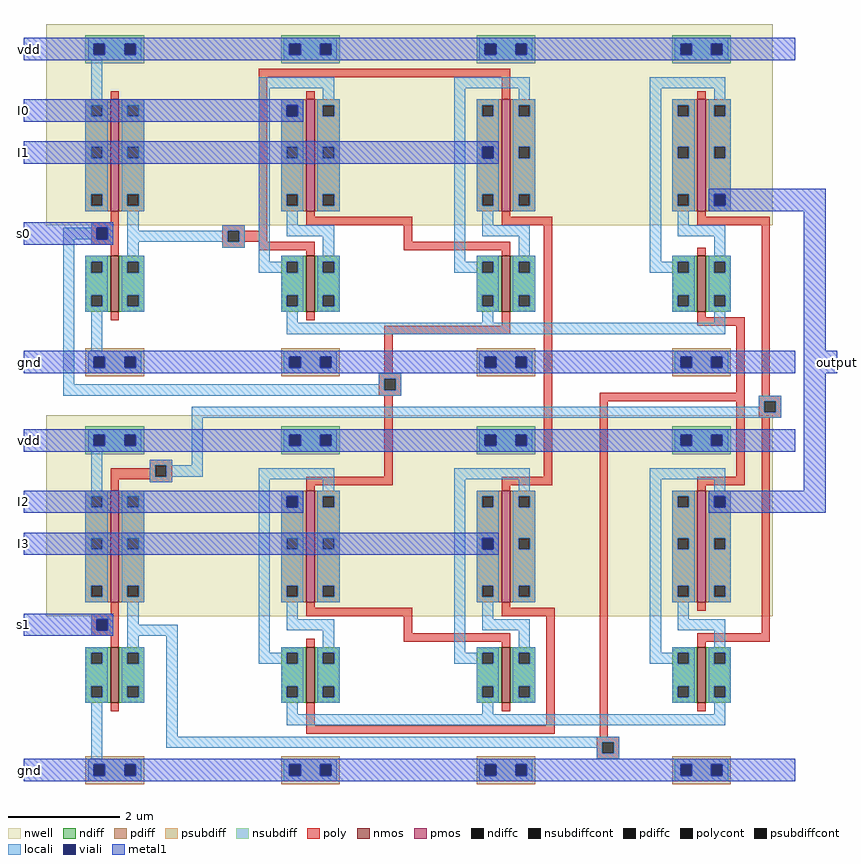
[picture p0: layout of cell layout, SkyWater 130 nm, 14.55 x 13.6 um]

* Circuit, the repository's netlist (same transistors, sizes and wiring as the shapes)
* SPICE3 file created from layout.ext - technology: sky130A

X0 a_540_n410# a_n40_n1810# output gnd sky130_fd_pr__nfet_01v8 ad=0.45 pd=2.9 as=0.45 ps=2.9 w=1 l=0.15
X1 a_n40_n1810# s1 gnd gnd sky130_fd_pr__nfet_01v8 ad=0.45 pd=2.9 as=0.45 ps=2.9 w=1 l=0.15
X2 a_540_n1810# s1 output gnd sky130_fd_pr__nfet_01v8 ad=0.45 pd=2.9 as=0.45 ps=2.9 w=1 l=0.15
X3 a_n40_n410# s0 gnd gnd sky130_fd_pr__nfet_01v8 ad=0.45 pd=2.9 as=0.45 ps=2.9 w=1 l=0.15
X4 I0 a_n40_n410# a_540_n410# gnd sky130_fd_pr__nfet_01v8 ad=0.45 pd=2.9 as=0.45 ps=2.9 w=1 l=0.15
X5 a_n40_n410# s0 vdd vdd sky130_fd_pr__pfet_01v8 ad=0.9 pd=4.9 as=0.9 ps=4.9 w=2 l=0.15
X6 I1 s0 a_540_n410# gnd sky130_fd_pr__nfet_01v8 ad=0.45 pd=2.9 as=0.45 ps=2.9 w=1 l=0.15
X7 output s1 a_540_n410# vdd sky130_fd_pr__pfet_01v8 ad=0.9 pd=4.9 as=0.9 ps=4.9 w=2 l=0.15
X8 a_540_n1810# s0 I2 vdd sky130_fd_pr__pfet_01v8 ad=0.9 pd=4.9 as=0.9 ps=4.9 w=2 l=0.15
X9 a_540_n1810# a_n40_n410# I3 vdd sky130_fd_pr__pfet_01v8 ad=0.9 pd=4.9 as=0.9 ps=4.9 w=2 l=0.15
X10 I2 a_n40_n410# a_540_n1810# gnd sky130_fd_pr__nfet_01v8 ad=0.45 pd=2.9 as=0.45 ps=2.9 w=1 l=0.15
X11 a_540_n410# s0 I0 vdd sky130_fd_pr__pfet_01v8 ad=0.9 pd=4.9 as=0.9 ps=4.9 w=2 l=0.15
X12 a_540_n410# a_n40_n410# I1 vdd sky130_fd_pr__pfet_01v8 ad=0.9 pd=4.9 as=0.9 ps=4.9 w=2 l=0.15
X13 I3 s0 a_540_n1810# gnd sky130_fd_pr__nfet_01v8 ad=0.45 pd=2.9 as=0.45 ps=2.9 w=1 l=0.15
X14 a_n40_n1810# s1 vdd vdd sky130_fd_pr__pfet_01v8 ad=0.9 pd=4.9 as=0.9 ps=4.9 w=2 l=0.15
X15 output a_n40_n1810# a_540_n1810# vdd sky130_fd_pr__pfet_01v8 ad=0.9 pd=4.9 as=0.9 ps=4.9 w=2 l=0.15

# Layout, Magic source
magic
tech sky130A
<< nwell >>
rect -150 -50 1150 310
rect -150 -750 1150 -390
<< nmos >>
rect -35 -205 -20 -105
rect 315 -205 330 -105
rect 665 -205 680 -105
rect 1015 -205 1030 -105
rect -35 -905 -20 -805
rect 315 -905 330 -805
rect 665 -905 680 -805
rect 1015 -905 1030 -805
<< pmos >>
rect -35 -25 -20 175
rect 315 -25 330 175
rect 665 -25 680 175
rect 1015 -25 1030 175
rect -35 -725 -20 -525
rect 315 -725 330 -525
rect 665 -725 680 -525
rect 1015 -725 1030 -525
<< ndiff >>
rect -80 -115 -35 -105
rect -80 -135 -70 -115
rect -50 -135 -35 -115
rect -80 -175 -35 -135
rect -80 -195 -70 -175
rect -50 -195 -35 -175
rect -80 -205 -35 -195
rect -20 -115 25 -105
rect -20 -135 -5 -115
rect 15 -135 25 -115
rect -20 -175 25 -135
rect -20 -195 -5 -175
rect 15 -195 25 -175
rect -20 -205 25 -195
rect 270 -115 315 -105
rect 270 -135 280 -115
rect 300 -135 315 -115
rect 270 -175 315 -135
rect 270 -195 280 -175
rect 300 -195 315 -175
rect 270 -205 315 -195
rect 330 -115 375 -105
rect 330 -135 345 -115
rect 365 -135 375 -115
rect 330 -175 375 -135
rect 330 -195 345 -175
rect 365 -195 375 -175
rect 330 -205 375 -195
rect 620 -115 665 -105
rect 620 -135 630 -115
rect 650 -135 665 -115
rect 620 -175 665 -135
rect 620 -195 630 -175
rect 650 -195 665 -175
rect 620 -205 665 -195
rect 680 -115 725 -105
rect 680 -135 695 -115
rect 715 -135 725 -115
rect 680 -175 725 -135
rect 680 -195 695 -175
rect 715 -195 725 -175
rect 680 -205 725 -195
rect 970 -115 1015 -105
rect 970 -135 980 -115
rect 1000 -135 1015 -115
rect 970 -175 1015 -135
rect 970 -195 980 -175
rect 1000 -195 1015 -175
rect 970 -205 1015 -195
rect 1030 -115 1075 -105
rect 1030 -135 1045 -115
rect 1065 -135 1075 -115
rect 1030 -175 1075 -135
rect 1030 -195 1045 -175
rect 1065 -195 1075 -175
rect 1030 -205 1075 -195
rect -80 -815 -35 -805
rect -80 -835 -70 -815
rect -50 -835 -35 -815
rect -80 -875 -35 -835
rect -80 -895 -70 -875
rect -50 -895 -35 -875
rect -80 -905 -35 -895
rect -20 -815 25 -805
rect -20 -835 -5 -815
rect 15 -835 25 -815
rect -20 -875 25 -835
rect -20 -895 -5 -875
rect 15 -895 25 -875
rect -20 -905 25 -895
rect 270 -815 315 -805
rect 270 -835 280 -815
rect 300 -835 315 -815
rect 270 -875 315 -835
rect 270 -895 280 -875
rect 300 -895 315 -875
rect 270 -905 315 -895
rect 330 -815 375 -805
rect 330 -835 345 -815
rect 365 -835 375 -815
rect 330 -875 375 -835
rect 330 -895 345 -875
rect 365 -895 375 -875
rect 330 -905 375 -895
rect 620 -815 665 -805
rect 620 -835 630 -815
rect 650 -835 665 -815
rect 620 -875 665 -835
rect 620 -895 630 -875
rect 650 -895 665 -875
rect 620 -905 665 -895
rect 680 -815 725 -805
rect 680 -835 695 -815
rect 715 -835 725 -815
rect 680 -875 725 -835
rect 680 -895 695 -875
rect 715 -895 725 -875
rect 680 -905 725 -895
rect 970 -815 1015 -805
rect 970 -835 980 -815
rect 1000 -835 1015 -815
rect 970 -875 1015 -835
rect 970 -895 980 -875
rect 1000 -895 1015 -875
rect 970 -905 1015 -895
rect 1030 -815 1075 -805
rect 1030 -835 1045 -815
rect 1065 -835 1075 -815
rect 1030 -875 1075 -835
rect 1030 -895 1045 -875
rect 1065 -895 1075 -875
rect 1030 -905 1075 -895
<< pdiff >>
rect -80 165 -35 175
rect -80 145 -70 165
rect -50 145 -35 165
rect -80 90 -35 145
rect -80 70 -70 90
rect -50 70 -35 90
rect -80 5 -35 70
rect -80 -15 -70 5
rect -50 -15 -35 5
rect -80 -25 -35 -15
rect -20 165 25 175
rect -20 145 -5 165
rect 15 145 25 165
rect -20 90 25 145
rect -20 70 -5 90
rect 15 70 25 90
rect -20 5 25 70
rect -20 -15 -5 5
rect 15 -15 25 5
rect -20 -25 25 -15
rect 270 165 315 175
rect 270 145 280 165
rect 300 145 315 165
rect 270 90 315 145
rect 270 70 280 90
rect 300 70 315 90
rect 270 5 315 70
rect 270 -15 280 5
rect 300 -15 315 5
rect 270 -25 315 -15
rect 330 165 375 175
rect 330 145 345 165
rect 365 145 375 165
rect 330 90 375 145
rect 330 70 345 90
rect 365 70 375 90
rect 330 5 375 70
rect 330 -15 345 5
rect 365 -15 375 5
rect 330 -25 375 -15
rect 620 165 665 175
rect 620 145 630 165
rect 650 145 665 165
rect 620 90 665 145
rect 620 70 630 90
rect 650 70 665 90
rect 620 5 665 70
rect 620 -15 630 5
rect 650 -15 665 5
rect 620 -25 665 -15
rect 680 165 725 175
rect 680 145 695 165
rect 715 145 725 165
rect 680 90 725 145
rect 680 70 695 90
rect 715 70 725 90
rect 680 5 725 70
rect 680 -15 695 5
rect 715 -15 725 5
rect 680 -25 725 -15
rect 970 165 1015 175
rect 970 145 980 165
rect 1000 145 1015 165
rect 970 90 1015 145
rect 970 70 980 90
rect 1000 70 1015 90
rect 970 5 1015 70
rect 970 -15 980 5
rect 1000 -15 1015 5
rect 970 -25 1015 -15
rect 1030 165 1075 175
rect 1030 145 1045 165
rect 1065 145 1075 165
rect 1030 90 1075 145
rect 1030 70 1045 90
rect 1065 70 1075 90
rect 1030 5 1075 70
rect 1030 -15 1045 5
rect 1065 -15 1075 5
rect 1030 -25 1075 -15
rect -80 -535 -35 -525
rect -80 -555 -70 -535
rect -50 -555 -35 -535
rect -80 -610 -35 -555
rect -80 -630 -70 -610
rect -50 -630 -35 -610
rect -80 -695 -35 -630
rect -80 -715 -70 -695
rect -50 -715 -35 -695
rect -80 -725 -35 -715
rect -20 -535 25 -525
rect -20 -555 -5 -535
rect 15 -555 25 -535
rect -20 -610 25 -555
rect -20 -630 -5 -610
rect 15 -630 25 -610
rect -20 -695 25 -630
rect -20 -715 -5 -695
rect 15 -715 25 -695
rect -20 -725 25 -715
rect 270 -535 315 -525
rect 270 -555 280 -535
rect 300 -555 315 -535
rect 270 -610 315 -555
rect 270 -630 280 -610
rect 300 -630 315 -610
rect 270 -695 315 -630
rect 270 -715 280 -695
rect 300 -715 315 -695
rect 270 -725 315 -715
rect 330 -535 375 -525
rect 330 -555 345 -535
rect 365 -555 375 -535
rect 330 -610 375 -555
rect 330 -630 345 -610
rect 365 -630 375 -610
rect 330 -695 375 -630
rect 330 -715 345 -695
rect 365 -715 375 -695
rect 330 -725 375 -715
rect 620 -535 665 -525
rect 620 -555 630 -535
rect 650 -555 665 -535
rect 620 -610 665 -555
rect 620 -630 630 -610
rect 650 -630 665 -610
rect 620 -695 665 -630
rect 620 -715 630 -695
rect 650 -715 665 -695
rect 620 -725 665 -715
rect 680 -535 725 -525
rect 680 -555 695 -535
rect 715 -555 725 -535
rect 680 -610 725 -555
rect 680 -630 695 -610
rect 715 -630 725 -610
rect 680 -695 725 -630
rect 680 -715 695 -695
rect 715 -715 725 -695
rect 680 -725 725 -715
rect 970 -535 1015 -525
rect 970 -555 980 -535
rect 1000 -555 1015 -535
rect 970 -610 1015 -555
rect 970 -630 980 -610
rect 1000 -630 1015 -610
rect 970 -695 1015 -630
rect 970 -715 980 -695
rect 1000 -715 1015 -695
rect 970 -725 1015 -715
rect 1030 -535 1075 -525
rect 1030 -555 1045 -535
rect 1065 -555 1075 -535
rect 1030 -610 1075 -555
rect 1030 -630 1045 -610
rect 1065 -630 1075 -610
rect 1030 -695 1075 -630
rect 1030 -715 1045 -695
rect 1065 -715 1075 -695
rect 1030 -725 1075 -715
<< ndiffc >>
rect -70 -135 -50 -115
rect -70 -195 -50 -175
rect -5 -135 15 -115
rect -5 -195 15 -175
rect 280 -135 300 -115
rect 280 -195 300 -175
rect 345 -135 365 -115
rect 345 -195 365 -175
rect 630 -135 650 -115
rect 630 -195 650 -175
rect 695 -135 715 -115
rect 695 -195 715 -175
rect 980 -135 1000 -115
rect 980 -195 1000 -175
rect 1045 -135 1065 -115
rect 1045 -195 1065 -175
rect -70 -835 -50 -815
rect -70 -895 -50 -875
rect -5 -835 15 -815
rect -5 -895 15 -875
rect 280 -835 300 -815
rect 280 -895 300 -875
rect 345 -835 365 -815
rect 345 -895 365 -875
rect 630 -835 650 -815
rect 630 -895 650 -875
rect 695 -835 715 -815
rect 695 -895 715 -875
rect 980 -835 1000 -815
rect 980 -895 1000 -875
rect 1045 -835 1065 -815
rect 1045 -895 1065 -875
<< pdiffc >>
rect -70 145 -50 165
rect -70 70 -50 90
rect -70 -15 -50 5
rect -5 145 15 165
rect -5 70 15 90
rect -5 -15 15 5
rect 280 145 300 165
rect 280 70 300 90
rect 280 -15 300 5
rect 345 145 365 165
rect 345 70 365 90
rect 345 -15 365 5
rect 630 145 650 165
rect 630 70 650 90
rect 630 -15 650 5
rect 695 145 715 165
rect 695 70 715 90
rect 695 -15 715 5
rect 980 145 1000 165
rect 980 70 1000 90
rect 980 -15 1000 5
rect 1045 145 1065 165
rect 1045 70 1065 90
rect 1045 -15 1065 5
rect -70 -555 -50 -535
rect -70 -630 -50 -610
rect -70 -715 -50 -695
rect -5 -555 15 -535
rect -5 -630 15 -610
rect -5 -715 15 -695
rect 280 -555 300 -535
rect 280 -630 300 -610
rect 280 -715 300 -695
rect 345 -555 365 -535
rect 345 -630 365 -610
rect 345 -715 365 -695
rect 630 -555 650 -535
rect 630 -630 650 -610
rect 630 -715 650 -695
rect 695 -555 715 -535
rect 695 -630 715 -610
rect 695 -715 715 -695
rect 980 -555 1000 -535
rect 980 -630 1000 -610
rect 980 -715 1000 -695
rect 1045 -555 1065 -535
rect 1045 -630 1065 -610
rect 1045 -715 1065 -695
<< psubdiff >>
rect -80 -285 25 -270
rect -80 -305 -65 -285
rect -45 -305 -10 -285
rect 10 -305 25 -285
rect -80 -320 25 -305
rect 270 -285 375 -270
rect 270 -305 285 -285
rect 305 -305 340 -285
rect 360 -305 375 -285
rect 270 -320 375 -305
rect 620 -285 725 -270
rect 620 -305 635 -285
rect 655 -305 690 -285
rect 710 -305 725 -285
rect 620 -320 725 -305
rect 970 -285 1075 -270
rect 970 -305 985 -285
rect 1005 -305 1040 -285
rect 1060 -305 1075 -285
rect 970 -320 1075 -305
rect -80 -1015 25 -1000
rect -80 -1035 -65 -1015
rect -45 -1035 -10 -1015
rect 10 -1035 25 -1015
rect -80 -1050 25 -1035
rect 270 -1015 375 -1000
rect 270 -1035 285 -1015
rect 305 -1035 340 -1015
rect 360 -1035 375 -1015
rect 270 -1050 375 -1035
rect 620 -1015 725 -1000
rect 620 -1035 635 -1015
rect 655 -1035 690 -1015
rect 710 -1035 725 -1015
rect 620 -1050 725 -1035
rect 970 -1015 1075 -1000
rect 970 -1035 985 -1015
rect 1005 -1035 1040 -1015
rect 1060 -1035 1075 -1015
rect 970 -1050 1075 -1035
<< nsubdiff >>
rect -80 275 25 290
rect -80 255 -65 275
rect -45 255 -10 275
rect 10 255 25 275
rect -80 240 25 255
rect 270 275 375 290
rect 270 255 285 275
rect 305 255 340 275
rect 360 255 375 275
rect 270 240 375 255
rect 620 275 725 290
rect 620 255 635 275
rect 655 255 690 275
rect 710 255 725 275
rect 620 240 725 255
rect 970 275 1075 290
rect 970 255 985 275
rect 1005 255 1040 275
rect 1060 255 1075 275
rect 970 240 1075 255
rect -80 -425 25 -410
rect -80 -445 -65 -425
rect -45 -445 -10 -425
rect 10 -445 25 -425
rect -80 -460 25 -445
rect 270 -425 375 -410
rect 270 -445 285 -425
rect 305 -445 340 -425
rect 360 -445 375 -425
rect 270 -460 375 -445
rect 620 -425 725 -410
rect 620 -445 635 -425
rect 655 -445 690 -425
rect 710 -445 725 -425
rect 620 -460 725 -445
rect 970 -425 1075 -410
rect 970 -445 985 -425
rect 1005 -445 1040 -425
rect 1060 -445 1075 -425
rect 970 -460 1075 -445
<< psubdiffcont >>
rect -65 -305 -45 -285
rect -10 -305 10 -285
rect 285 -305 305 -285
rect 340 -305 360 -285
rect 635 -305 655 -285
rect 690 -305 710 -285
rect 985 -305 1005 -285
rect 1040 -305 1060 -285
rect -65 -1035 -45 -1015
rect -10 -1035 10 -1015
rect 285 -1035 305 -1015
rect 340 -1035 360 -1015
rect 635 -1035 655 -1015
rect 690 -1035 710 -1015
rect 985 -1035 1005 -1015
rect 1040 -1035 1060 -1015
<< nsubdiffcont >>
rect -65 255 -45 275
rect -10 255 10 275
rect 285 255 305 275
rect 340 255 360 275
rect 635 255 655 275
rect 690 255 710 275
rect 985 255 1005 275
rect 1040 255 1060 275
rect -65 -445 -45 -425
rect -10 -445 10 -425
rect 285 -445 305 -425
rect 340 -445 360 -425
rect 635 -445 655 -425
rect 690 -445 710 -425
rect 985 -445 1005 -425
rect 1040 -445 1060 -425
<< poly >>
rect 230 215 680 230
rect -35 175 -20 190
rect -35 -45 -20 -25
rect -70 -55 -20 -45
rect -70 -75 -60 -55
rect -40 -75 -20 -55
rect -70 -85 -20 -75
rect -35 -105 -20 -85
rect 165 -60 205 -50
rect 230 -60 245 215
rect 315 175 330 190
rect 665 175 680 215
rect 1015 175 1030 190
rect 315 -35 330 -25
rect 665 -35 680 -25
rect 1015 -35 1030 -25
rect 315 -50 505 -35
rect 665 -50 755 -35
rect 1015 -50 1145 -35
rect 165 -80 175 -60
rect 195 -80 245 -60
rect 490 -80 505 -50
rect 165 -90 205 -80
rect 230 -95 330 -80
rect 490 -95 680 -80
rect 315 -105 330 -95
rect 665 -105 680 -95
rect -35 -220 -20 -205
rect 315 -220 330 -205
rect 665 -230 680 -205
rect 455 -245 680 -230
rect 455 -315 470 -245
rect 445 -325 485 -315
rect 445 -345 455 -325
rect 475 -345 485 -325
rect 445 -355 485 -345
rect 35 -480 75 -470
rect 35 -485 45 -480
rect -35 -500 45 -485
rect 65 -500 75 -480
rect 455 -500 470 -355
rect 740 -500 755 -50
rect 1015 -105 1030 -90
rect 1015 -215 1030 -205
rect 1015 -230 1100 -215
rect 1085 -350 1100 -230
rect -35 -505 75 -500
rect -35 -525 -20 -505
rect 35 -510 75 -505
rect 315 -515 470 -500
rect 665 -515 755 -500
rect 840 -365 1100 -350
rect 1130 -355 1145 -50
rect 315 -525 330 -515
rect 665 -525 680 -515
rect -35 -745 -20 -725
rect -70 -755 -20 -745
rect 315 -735 330 -725
rect 665 -735 680 -725
rect 315 -750 505 -735
rect 665 -750 760 -735
rect -70 -775 -60 -755
rect -40 -775 -20 -755
rect -70 -785 -20 -775
rect -35 -805 -20 -785
rect 490 -780 505 -750
rect 315 -805 330 -790
rect 490 -795 680 -780
rect 665 -805 680 -795
rect -35 -920 -20 -905
rect 315 -945 330 -905
rect 665 -920 680 -905
rect 745 -945 760 -750
rect 315 -960 760 -945
rect 840 -965 855 -365
rect 1085 -500 1100 -365
rect 1125 -365 1165 -355
rect 1125 -385 1135 -365
rect 1155 -385 1165 -365
rect 1125 -395 1165 -385
rect 1015 -515 1100 -500
rect 1015 -525 1030 -515
rect 1015 -740 1030 -725
rect 1130 -780 1145 -395
rect 1015 -795 1145 -780
rect 1015 -805 1030 -795
rect 1015 -920 1030 -905
rect 835 -975 875 -965
rect 835 -995 845 -975
rect 865 -995 875 -975
rect 835 -1005 875 -995
<< polycont >>
rect -60 -75 -40 -55
rect 175 -80 195 -60
rect 455 -345 475 -325
rect 45 -500 65 -480
rect -60 -775 -40 -755
rect 1135 -385 1155 -365
rect 845 -995 865 -975
<< locali >>
rect -75 275 20 285
rect -75 255 -65 275
rect -45 255 -10 275
rect 10 255 20 275
rect -75 245 20 255
rect 275 275 370 285
rect 275 255 285 275
rect 305 255 340 275
rect 360 255 370 275
rect 275 245 370 255
rect 625 275 720 285
rect 625 255 635 275
rect 655 255 690 275
rect 710 255 720 275
rect 625 245 720 255
rect 975 275 1070 285
rect 975 255 985 275
rect 1005 255 1040 275
rect 1060 255 1070 275
rect 975 245 1070 255
rect -70 175 -50 245
rect 230 195 365 215
rect -80 165 -40 175
rect -80 145 -70 165
rect -50 145 -40 165
rect -80 90 -40 145
rect -80 70 -70 90
rect -50 70 -40 90
rect -80 5 -40 70
rect -80 -15 -70 5
rect -50 -15 -40 5
rect -80 -25 -40 -15
rect -15 165 25 175
rect -15 145 -5 165
rect 15 145 25 165
rect -15 90 25 145
rect -15 70 -5 90
rect 15 70 25 90
rect -15 5 25 70
rect -15 -15 -5 5
rect 15 -15 25 5
rect -15 -25 25 -15
rect -70 -55 -30 -45
rect -120 -75 -60 -55
rect -40 -75 -30 -55
rect -120 -335 -100 -75
rect -70 -85 -30 -75
rect -5 -60 15 -25
rect 165 -60 205 -50
rect -5 -80 175 -60
rect 195 -80 205 -60
rect -5 -105 15 -80
rect 165 -90 205 -80
rect -80 -115 -40 -105
rect -80 -135 -70 -115
rect -50 -135 -40 -115
rect -80 -175 -40 -135
rect -80 -195 -70 -175
rect -50 -195 -40 -175
rect -80 -205 -40 -195
rect -15 -115 25 -105
rect -15 -135 -5 -115
rect 15 -135 25 -115
rect 230 -115 250 195
rect 345 175 365 195
rect 580 195 715 215
rect 270 165 310 175
rect 270 145 280 165
rect 300 145 310 165
rect 270 90 310 145
rect 270 70 280 90
rect 300 70 310 90
rect 270 5 310 70
rect 270 -15 280 5
rect 300 -15 310 5
rect 270 -25 310 -15
rect 335 165 375 175
rect 335 145 345 165
rect 365 145 375 165
rect 335 90 375 145
rect 335 70 345 90
rect 365 70 375 90
rect 335 5 375 70
rect 335 -15 345 5
rect 365 -15 375 5
rect 335 -25 375 -15
rect 280 -50 300 -25
rect 280 -70 365 -50
rect 345 -105 365 -70
rect 270 -115 310 -105
rect 230 -135 280 -115
rect 300 -135 310 -115
rect -15 -175 25 -135
rect -15 -195 -5 -175
rect 15 -195 25 -175
rect -15 -205 25 -195
rect 270 -175 310 -135
rect 270 -195 280 -175
rect 300 -195 310 -175
rect 270 -205 310 -195
rect 335 -115 375 -105
rect 335 -135 345 -115
rect 365 -135 375 -115
rect 580 -115 600 195
rect 695 175 715 195
rect 930 195 1065 215
rect 620 165 660 175
rect 620 145 630 165
rect 650 145 660 165
rect 620 90 660 145
rect 620 70 630 90
rect 650 70 660 90
rect 620 5 660 70
rect 620 -15 630 5
rect 650 -15 660 5
rect 620 -25 660 -15
rect 685 165 725 175
rect 685 145 695 165
rect 715 145 725 165
rect 685 90 725 145
rect 685 70 695 90
rect 715 70 725 90
rect 685 5 725 70
rect 685 -15 695 5
rect 715 -15 725 5
rect 685 -25 725 -15
rect 630 -50 650 -25
rect 630 -70 715 -50
rect 695 -105 715 -70
rect 620 -115 660 -105
rect 580 -135 630 -115
rect 650 -135 660 -115
rect 335 -175 375 -135
rect 335 -195 345 -175
rect 365 -195 375 -175
rect 335 -205 375 -195
rect 620 -175 660 -135
rect 620 -195 630 -175
rect 650 -195 660 -175
rect 620 -205 660 -195
rect 685 -115 725 -105
rect 685 -135 695 -115
rect 715 -135 725 -115
rect 930 -115 950 195
rect 1045 175 1065 195
rect 970 165 1010 175
rect 970 145 980 165
rect 1000 145 1010 165
rect 970 90 1010 145
rect 970 70 980 90
rect 1000 70 1010 90
rect 970 5 1010 70
rect 970 -15 980 5
rect 1000 -15 1010 5
rect 970 -25 1010 -15
rect 1035 165 1075 175
rect 1035 145 1045 165
rect 1065 145 1075 165
rect 1035 90 1075 145
rect 1035 70 1045 90
rect 1065 70 1075 90
rect 1035 5 1075 70
rect 1035 -15 1045 5
rect 1065 -15 1075 5
rect 1035 -25 1075 -15
rect 980 -50 1000 -25
rect 980 -70 1065 -50
rect 1045 -105 1065 -70
rect 970 -115 1010 -105
rect 930 -135 980 -115
rect 1000 -135 1010 -115
rect 685 -175 725 -135
rect 685 -195 695 -175
rect 715 -195 725 -175
rect 685 -205 725 -195
rect 970 -175 1010 -135
rect 970 -195 980 -175
rect 1000 -195 1010 -175
rect 970 -205 1010 -195
rect 1035 -115 1075 -105
rect 1035 -135 1045 -115
rect 1065 -135 1075 -115
rect 1035 -175 1075 -135
rect 1035 -195 1045 -175
rect 1065 -195 1075 -175
rect 1035 -205 1075 -195
rect -70 -275 -50 -205
rect 280 -225 300 -205
rect 630 -225 650 -205
rect 1045 -225 1065 -205
rect 280 -245 1065 -225
rect -75 -285 20 -275
rect -75 -305 -65 -285
rect -45 -305 -10 -285
rect 10 -305 20 -285
rect -75 -315 20 -305
rect 275 -285 370 -275
rect 275 -305 285 -285
rect 305 -305 340 -285
rect 360 -305 370 -285
rect 275 -315 370 -305
rect 625 -285 720 -275
rect 625 -305 635 -285
rect 655 -305 690 -285
rect 710 -305 720 -285
rect 625 -315 720 -305
rect 975 -285 1070 -275
rect 975 -305 985 -285
rect 1005 -305 1040 -285
rect 1060 -305 1070 -285
rect 975 -315 1070 -305
rect 445 -325 485 -315
rect 445 -335 455 -325
rect -120 -345 455 -335
rect 475 -345 485 -325
rect -120 -355 485 -345
rect 1125 -365 1165 -355
rect 1125 -375 1135 -365
rect 110 -385 1135 -375
rect 1155 -385 1165 -365
rect 110 -395 1165 -385
rect -75 -425 20 -415
rect -75 -445 -65 -425
rect -45 -445 -10 -425
rect 10 -445 20 -425
rect -75 -455 20 -445
rect -70 -525 -50 -455
rect 35 -480 75 -470
rect 110 -480 130 -395
rect 275 -425 370 -415
rect 275 -445 285 -425
rect 305 -445 340 -425
rect 360 -445 370 -425
rect 275 -455 370 -445
rect 625 -425 720 -415
rect 625 -445 635 -425
rect 655 -445 690 -425
rect 710 -445 720 -425
rect 625 -455 720 -445
rect 975 -425 1070 -415
rect 975 -445 985 -425
rect 1005 -445 1040 -425
rect 1060 -445 1070 -425
rect 975 -455 1070 -445
rect 35 -500 45 -480
rect 65 -500 130 -480
rect 35 -510 75 -500
rect 230 -505 365 -485
rect -80 -535 -40 -525
rect -80 -555 -70 -535
rect -50 -555 -40 -535
rect -80 -610 -40 -555
rect -80 -630 -70 -610
rect -50 -630 -40 -610
rect -80 -695 -40 -630
rect -80 -715 -70 -695
rect -50 -715 -40 -695
rect -80 -725 -40 -715
rect -15 -535 25 -525
rect -15 -555 -5 -535
rect 15 -555 25 -535
rect -15 -610 25 -555
rect -15 -630 -5 -610
rect 15 -630 25 -610
rect -15 -695 25 -630
rect -15 -715 -5 -695
rect 15 -715 25 -695
rect -15 -725 25 -715
rect -70 -755 -30 -745
rect -70 -775 -60 -755
rect -40 -775 -30 -755
rect -70 -785 -30 -775
rect -5 -765 15 -725
rect -5 -785 85 -765
rect -5 -805 15 -785
rect -80 -815 -40 -805
rect -80 -835 -70 -815
rect -50 -835 -40 -815
rect -80 -875 -40 -835
rect -80 -895 -70 -875
rect -50 -895 -40 -875
rect -80 -905 -40 -895
rect -15 -815 25 -805
rect -15 -835 -5 -815
rect 15 -835 25 -815
rect -15 -875 25 -835
rect -15 -895 -5 -875
rect 15 -895 25 -875
rect -15 -905 25 -895
rect -70 -1005 -50 -905
rect 65 -965 85 -785
rect 230 -815 250 -505
rect 345 -525 365 -505
rect 580 -505 715 -485
rect 270 -535 310 -525
rect 270 -555 280 -535
rect 300 -555 310 -535
rect 270 -610 310 -555
rect 270 -630 280 -610
rect 300 -630 310 -610
rect 270 -695 310 -630
rect 270 -715 280 -695
rect 300 -715 310 -695
rect 270 -725 310 -715
rect 335 -535 375 -525
rect 335 -555 345 -535
rect 365 -555 375 -535
rect 335 -610 375 -555
rect 335 -630 345 -610
rect 365 -630 375 -610
rect 335 -695 375 -630
rect 335 -715 345 -695
rect 365 -715 375 -695
rect 335 -725 375 -715
rect 280 -755 300 -725
rect 280 -775 365 -755
rect 345 -805 365 -775
rect 270 -815 310 -805
rect 230 -835 280 -815
rect 300 -835 310 -815
rect 270 -875 310 -835
rect 270 -895 280 -875
rect 300 -895 310 -875
rect 270 -905 310 -895
rect 335 -815 375 -805
rect 335 -835 345 -815
rect 365 -835 375 -815
rect 580 -815 600 -505
rect 695 -525 715 -505
rect 930 -505 1065 -485
rect 620 -535 660 -525
rect 620 -555 630 -535
rect 650 -555 660 -535
rect 620 -610 660 -555
rect 620 -630 630 -610
rect 650 -630 660 -610
rect 620 -695 660 -630
rect 620 -715 630 -695
rect 650 -715 660 -695
rect 620 -725 660 -715
rect 685 -535 725 -525
rect 685 -555 695 -535
rect 715 -555 725 -535
rect 685 -610 725 -555
rect 685 -630 695 -610
rect 715 -630 725 -610
rect 685 -695 725 -630
rect 685 -715 695 -695
rect 715 -715 725 -695
rect 685 -725 725 -715
rect 630 -755 650 -725
rect 630 -775 715 -755
rect 695 -805 715 -775
rect 620 -815 660 -805
rect 580 -835 630 -815
rect 650 -835 660 -815
rect 335 -875 375 -835
rect 335 -895 345 -875
rect 365 -895 375 -875
rect 335 -905 375 -895
rect 620 -875 660 -835
rect 620 -895 630 -875
rect 650 -895 660 -875
rect 620 -905 660 -895
rect 685 -815 725 -805
rect 685 -835 695 -815
rect 715 -835 725 -815
rect 930 -815 950 -505
rect 1045 -525 1065 -505
rect 970 -535 1010 -525
rect 970 -555 980 -535
rect 1000 -555 1010 -535
rect 970 -610 1010 -555
rect 970 -630 980 -610
rect 1000 -630 1010 -610
rect 970 -695 1010 -630
rect 970 -715 980 -695
rect 1000 -715 1010 -695
rect 970 -725 1010 -715
rect 1035 -535 1075 -525
rect 1035 -555 1045 -535
rect 1065 -555 1075 -535
rect 1035 -610 1075 -555
rect 1035 -630 1045 -610
rect 1065 -630 1075 -610
rect 1035 -695 1075 -630
rect 1035 -715 1045 -695
rect 1065 -715 1075 -695
rect 1035 -725 1075 -715
rect 980 -755 1000 -725
rect 980 -775 1065 -755
rect 1045 -805 1065 -775
rect 970 -815 1010 -805
rect 930 -835 980 -815
rect 1000 -835 1010 -815
rect 685 -875 725 -835
rect 685 -895 695 -875
rect 715 -895 725 -875
rect 685 -905 725 -895
rect 970 -875 1010 -835
rect 970 -895 980 -875
rect 1000 -895 1010 -875
rect 970 -905 1010 -895
rect 1035 -815 1075 -805
rect 1035 -835 1045 -815
rect 1065 -835 1075 -815
rect 1035 -875 1075 -835
rect 1035 -895 1045 -875
rect 1065 -895 1075 -875
rect 1035 -905 1075 -895
rect 280 -925 300 -905
rect 630 -925 650 -905
rect 1045 -925 1065 -905
rect 280 -945 1065 -925
rect 65 -975 875 -965
rect 65 -985 845 -975
rect 835 -995 845 -985
rect 865 -995 875 -975
rect 835 -1005 875 -995
rect -75 -1015 20 -1005
rect -75 -1035 -65 -1015
rect -45 -1035 -10 -1015
rect 10 -1035 20 -1015
rect -75 -1045 20 -1035
rect 275 -1015 370 -1005
rect 275 -1035 285 -1015
rect 305 -1035 340 -1015
rect 360 -1035 370 -1015
rect 275 -1045 370 -1035
rect 625 -1015 720 -1005
rect 625 -1035 635 -1015
rect 655 -1035 690 -1015
rect 710 -1035 720 -1015
rect 625 -1045 720 -1035
rect 975 -1015 1070 -1005
rect 975 -1035 985 -1015
rect 1005 -1035 1040 -1015
rect 1060 -1035 1070 -1015
rect 975 -1045 1070 -1035
<< viali >>
rect -65 255 -45 275
rect -10 255 10 275
rect 285 255 305 275
rect 340 255 360 275
rect 635 255 655 275
rect 690 255 710 275
rect 985 255 1005 275
rect 1040 255 1060 275
rect -60 -75 -40 -55
rect 280 145 300 165
rect 630 70 650 90
rect 1045 -15 1065 5
rect -65 -305 -45 -285
rect -10 -305 10 -285
rect 285 -305 305 -285
rect 340 -305 360 -285
rect 635 -305 655 -285
rect 690 -305 710 -285
rect 985 -305 1005 -285
rect 1040 -305 1060 -285
rect -65 -445 -45 -425
rect -10 -445 10 -425
rect 285 -445 305 -425
rect 340 -445 360 -425
rect 635 -445 655 -425
rect 690 -445 710 -425
rect 985 -445 1005 -425
rect 1040 -445 1060 -425
rect -60 -775 -40 -755
rect 280 -555 300 -535
rect 630 -630 650 -610
rect 1045 -555 1065 -535
rect -65 -1035 -45 -1015
rect -10 -1035 10 -1015
rect 285 -1035 305 -1015
rect 340 -1035 360 -1015
rect 635 -1035 655 -1015
rect 690 -1035 710 -1015
rect 985 -1035 1005 -1015
rect 1040 -1035 1060 -1015
<< metal1 >>
rect -190 275 1190 285
rect -190 255 -65 275
rect -45 255 -10 275
rect 10 255 285 275
rect 305 255 340 275
rect 360 255 635 275
rect 655 255 690 275
rect 710 255 985 275
rect 1005 255 1040 275
rect 1060 255 1190 275
rect -190 245 1190 255
rect -190 165 310 175
rect -190 145 280 165
rect 300 145 310 165
rect -190 135 310 145
rect -190 90 660 100
rect -190 70 630 90
rect 650 70 660 90
rect -190 60 660 70
rect 1035 5 1245 15
rect 1035 -15 1045 5
rect 1065 -15 1245 5
rect 1035 -25 1245 -15
rect -190 -55 -30 -45
rect -190 -75 -60 -55
rect -40 -75 -30 -55
rect -190 -85 -30 -75
rect 1205 -275 1245 -25
rect -190 -285 1190 -275
rect -190 -305 -65 -285
rect -45 -305 -10 -285
rect 10 -305 285 -285
rect 305 -305 340 -285
rect 360 -305 635 -285
rect 655 -305 690 -285
rect 710 -305 985 -285
rect 1005 -305 1040 -285
rect 1060 -305 1190 -285
rect -190 -315 1190 -305
rect 1205 -315 1265 -275
rect -190 -425 1190 -415
rect -190 -445 -65 -425
rect -45 -445 -10 -425
rect 10 -445 285 -425
rect 305 -445 340 -425
rect 360 -445 635 -425
rect 655 -445 690 -425
rect 710 -445 985 -425
rect 1005 -445 1040 -425
rect 1060 -445 1190 -425
rect -190 -455 1190 -445
rect 1205 -525 1245 -315
rect -190 -535 310 -525
rect -190 -555 280 -535
rect 300 -555 310 -535
rect -190 -565 310 -555
rect 1035 -535 1245 -525
rect 1035 -555 1045 -535
rect 1065 -555 1245 -535
rect 1035 -565 1245 -555
rect -190 -610 660 -600
rect -190 -630 630 -610
rect 650 -630 660 -610
rect -190 -640 660 -630
rect -190 -755 -30 -745
rect -190 -775 -60 -755
rect -40 -775 -30 -755
rect -190 -785 -30 -775
rect -190 -1015 1190 -1005
rect -190 -1035 -65 -1015
rect -45 -1035 -10 -1015
rect 10 -1035 285 -1015
rect 305 -1035 340 -1015
rect 360 -1035 635 -1015
rect 655 -1035 690 -1015
rect 710 -1035 985 -1015
rect 1005 -1035 1040 -1015
rect 1060 -1035 1190 -1015
rect -190 -1045 1190 -1035
<< labels >>
rlabel metal1 -180 265 -180 265 1 vdd
rlabel metal1 -180 -435 -180 -435 1 vdd
rlabel metal1 -180 -295 -180 -295 1 gnd
rlabel metal1 1265 -315 1265 -275 7 output
rlabel metal1 -190 -85 -190 -45 3 s0
rlabel metal1 -190 -785 -190 -745 3 s1
rlabel metal1 -180 -1025 -180 -1025 1 gnd
rlabel metal1 -190 135 -190 175 3 I0
rlabel metal1 -190 60 -190 100 3 I1
rlabel metal1 -190 -565 -190 -525 3 I2
rlabel metal1 -190 -640 -190 -600 3 I3
<< end >>
